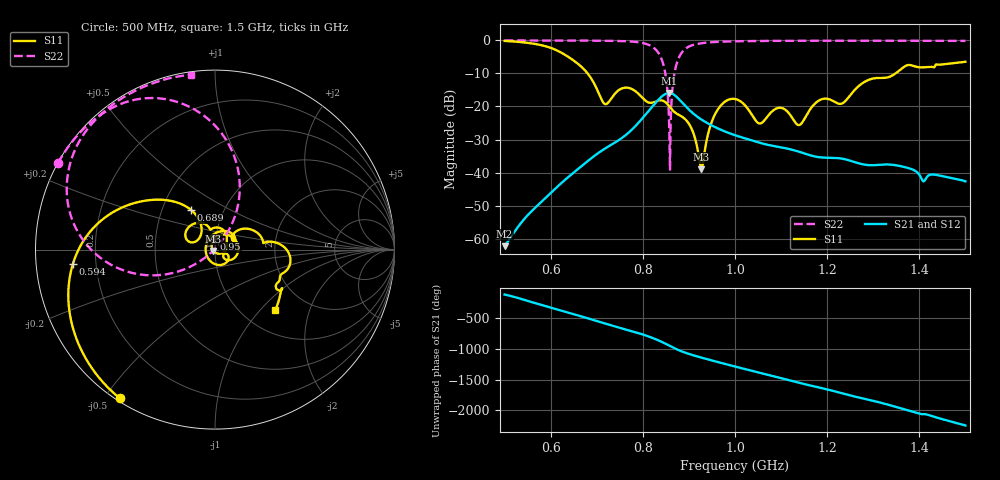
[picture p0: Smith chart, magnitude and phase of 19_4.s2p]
! TOUCHSTONE file generated by CST MICROWAVE STUDIO
! Date and time: Fri Oct  2 16:56:52 2020
! Project name: Scenario_1_Free_Space_out_of_line.cst
! Parameters = {Lambda=346.42; Step_1=17.321; dy1=35.502; dx1=693; L_HA=400; MT=2.54; Rad_Dielectric=30; Rad_Lower=7.3; Rad_Upper=30; a_HA=580; a_WG=246; b_HA=500; b_WG=121; c_HA=0; c_WG=187; d_feed=85; h_feed=15; h_lower=18; h_upper=40}
! Header version: 2018
! Port assignment regex: !\s*Touchstone port\s*([0-9]+)\s*=\s*(CST MWS port|CST DS port)\s*([0-9]+|Zmin|Zmax)\s*\(\"(.*)\"\)(\s*mode\s*([0-9]+))?.*
! Touchstone port assignment:
! Touchstone port 1 = CST MWS port 1 ("")
! Touchstone port 2 = CST MWS port 2 ("")
# GHz S DB R 50
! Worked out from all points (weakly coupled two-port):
!   1003 points, 500 MHz to 1.5 GHz, reference 50 ohm
!   highest |S21| = -15.90 dB at 857 MHz (marker M1); lowest = -62.3 dB at 500 MHz (marker M2)
!   lowest |S11| = -39.0 dB at 927 MHz (marker M3), VSWR 1.02, Z = 49.2 - j0.714 ohm
!   |S11| at or under -10 dB: 680.2 MHz to 1.348 GHz (668.1 MHz wide, 65.9 % of centre)
!   |S22| runs from -39.1 to 0.0 dB; largest |S21 - S12| = 4.3e-06
!   S11 on the Smith chart (normalised r, x): 500 MHz: 0.01, -0.55; 594 MHz: 0.11, -0.05; 689 MHz: 0.70, +0.33; 950 MHz: 0.98, +0.12; 1.5 GHz: 1.40, -1.21
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0.5  -0.15 -122.6  -62.30 -116.6  -62.30 -116.6  -0.01 151.2
0.594  -1.97 -174.1  -47.00 44.8  -47.00 44.8  -0.02 144.6
0.667  -8.02 135.8  -38.06 -113.2  -38.06 -113.2  -0.04 138.3
0.689  -11.76 121.1  -35.58 -162.0  -35.58 -162.0  -0.06 136.0
0.718  -19.27 141.6  -32.73 132.1  -32.73 132.1  -0.10 132.5
0.762  -14.30 143.5  -28.74 38.0  -28.74 38.0  -0.24 124.9
0.834  -18.21 89.6  -17.93 -142.4  -17.93 -142.4  -3.81 86.4
0.848  -18.58 65.6  -16.28 168.5  -16.28 168.5  -9.39 66.2
0.857  -19.87 50.3  -15.90 134.0  -15.90 134.0  -24.92 51.9
0.862  -20.72 43.9  -16.01 114.7  -16.01 114.7  -19.08 -142.5
0.868  -21.60 37.8  -16.46 92.2  -16.46 92.2  -10.45 -152.9
0.879  -22.61 25.8  -17.88 54.9  -17.88 54.9  -4.95 -170.3
0.906  -26.78 -24.7  -21.73 -16.3  -21.73 -16.3  -1.50 164.8
0.927  -39.04 -139.4  -23.94 -62.0  -23.94 -62.0  -0.84 155.3
0.95  -24.46 93.9  -25.78 -109.2  -25.78 -109.2  -0.53 148.9
1  -17.73 -2.8  -28.70 152.8  -28.70 152.8  -0.26 140.2
1.053  -25.14 -31.8  -30.97 51.6  -30.97 51.6  -0.16 134.1
1.098  -20.38 -51.4  -32.31 -32.3  -32.31 -32.3  -0.12 129.9
1.14  -25.61 173.3  -33.74 -113.3  -33.74 -113.3  -0.10 126.4
1.167  -20.13 81.2  -34.93 -162.3  -34.93 -162.3  -0.09 124.2
1.334  -11.08 8.0  -37.57 -111.8  -37.57 -111.8  -0.09 111.5
1.5  -6.46 -44.9  -42.66 -85.6  -42.65 -85.6  -0.14 97.9
